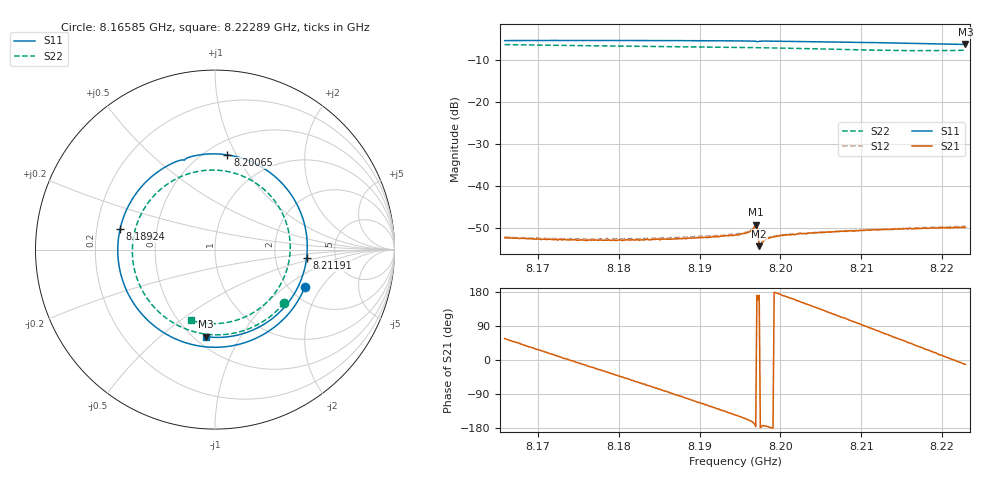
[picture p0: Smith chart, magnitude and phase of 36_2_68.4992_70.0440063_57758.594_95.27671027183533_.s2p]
#  HZ  S  RI  R  50.00
! Rohde & Schwarz Vector Network Analyzer
! Rohde-Schwarz,ZNB20-2Port,1311601062101988,3.16
! Created: UTC 3/20/2024, 5:05:17 PM
! freq[Hz]  re:S11  im:S11  re:S21  im:S21  re:S12  im:S12  re:S22  im:S22
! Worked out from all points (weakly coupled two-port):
!   401 points, 8.16585 GHz to 8.22289 GHz, reference 50 ohm
!   highest |S21| = -49.29 dB at 8.19694 GHz (marker M1); lowest = -54.4 dB at 8.19737 GHz (marker M2)
!   lowest |S11| = -6.2 dB at 8.22289 GHz (marker M3), VSWR 2.90, Z = 28.4 - j36.2 ohm
!   |S11| at or under -10 dB: nowhere
!   |S22| runs from -7.7 to -6.3 dB; largest |S21 - S12| = 0.00019
!   S11 on the Smith chart (normalised r, x): 8.16585 GHz: 2.41, -1.43; 8.18924 GHz: 0.30, +0.10; 8.20065 GHz: 0.63, +0.92; 8.21191 GHz: 3.05, -0.38; 8.22289 GHz: 0.57, -0.72
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8.165849e9  0.5012 -0.2082  0.00131 0.00202  0.00132 0.00206  0.3842 -0.2975
8.170983e9  0.2792 -0.4672  0.00215 0.000805  0.00219 0.000856  0.1368 -0.4582
8.175404e9  -0.00847 -0.5442  0.00222 -0.000422  0.00227 -0.000417  -0.1136 -0.4584
8.179825e9  -0.2956 -0.4565  0.00169 -0.00147  0.00174 -0.00153  -0.327 -0.3337
8.182534e9  -0.4322 -0.3292  0.00111 -0.00194  0.00115 -0.00202  -0.4141 -0.2103
8.184958e9  -0.5114 -0.1812  0.000517 -0.00225  0.000498 -0.00234  -0.4548 -0.082
8.189237e9  -0.5291 0.1133  -0.000699 -0.00229  -0.000755 -0.00234  -0.4315 0.1523
8.191804e9  -0.462 0.2792  -0.00145 -0.00201  -0.00156 -0.00202  -0.361 0.2759
8.194371e9  -0.3435 0.4142  -0.00212 -0.00147  -0.00221 -0.00146  -0.2553 0.3717
8.196937e9  -0.1816 0.4997  -0.00342 -0.000253  -0.00352 -0.000106  -0.1236 0.4293
8.197365e9  -0.1628 0.5062  -0.00188 0.000312  -0.00189 0.00038  -0.1005 0.4347
8.19765e9  -0.1425 0.5152  -0.00203 -0.000167  -0.00208 -7.06e-05  -0.0845 0.4376
8.198506e9  -0.082 0.5282  -0.00236 -0.00015  -0.00241 -4.47e-05  -0.0362 0.4427
8.200645e9  0.0691 0.5277  -0.00253 0.000551  -0.00256 0.000653  0.0844 0.4319
8.203925e9  0.2839 0.4449  -0.00217 0.00169  -0.00211 0.00177  0.2538 0.3515
8.208061e9  0.4704 0.2229  -0.000999 0.00275  -0.000878 0.00276  0.3945 0.157
8.211911e9  0.5106 -0.0461  0.000643 0.00293  0.000699 0.00294  0.4104 -0.073
8.21348e9  0.4846 -0.1556  0.00128 0.00273  0.00137 0.00277  0.38 -0.1654
8.215904e9  0.3989 -0.3067  0.00215 0.0022  0.00223 0.00217  0.2924 -0.2898
8.218471e9  0.2574 -0.4253  0.00282 0.00131  0.00294 0.00121  0.1549 -0.3806
8.220753e9  0.1027 -0.4813  0.00313 0.000322  0.00321 0.000235  0.00852 -0.4123
8.222892e9  -0.0516 -0.4851  0.00313 -0.00065  0.00321 -0.000769  -0.1333 -0.394
